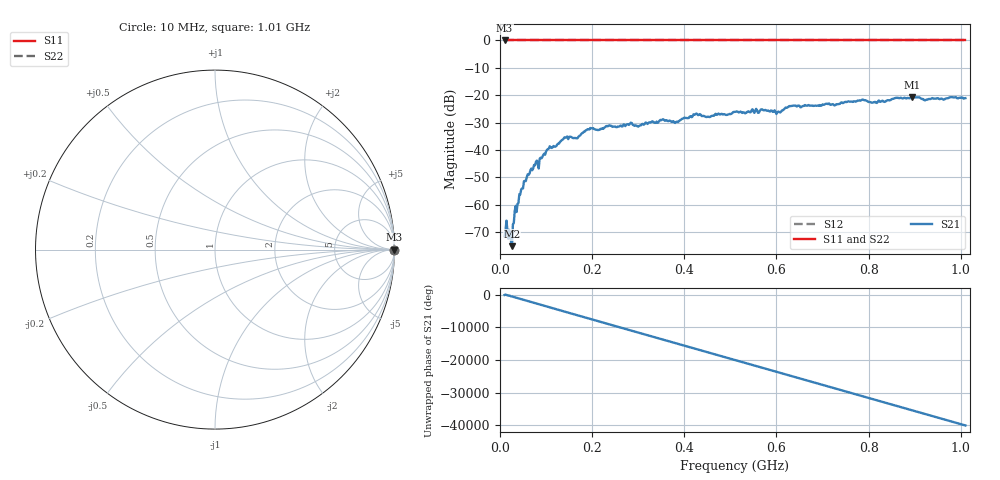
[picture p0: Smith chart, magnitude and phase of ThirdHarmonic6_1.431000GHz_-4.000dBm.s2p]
! 8/16/2025 4:29:51 PM
! C:\ANRITSUVNA\TEMP\TEMP.S2P
! CHANNEL.1
! TR.MEASUREMENT
! RAW.DATA
! RF.CORRECTION.OFF
! AVERAGING.OFF
! IF.BANDWIDTH: 5KHZ
! SWEEPTYPE:  FREQ.SWEEP(Linear)
! Reference Plane Port Info
! PORT:  PORT1  PORT2
! DISTANCE:  0  m  0  m
! TIME:  0  s  0  s
! PHASE.OFFSET:  0  deg.  0  deg.
! LOSS:  0  dB  0  dB
! REF.LOSS:  0  dB  0  dB
! REF.FREQ:  0  Hz  0  Hz
! Power Info
! POWER:  -20  dBm  -20  dBm
! EFF.POWER:  -20  dBm  -20  dBm
! SOURCE.ATTEN:  0  dB  0  dB
! TEST.ATTEN:  0  dB  0  dB
# GHZ S RI R 50.0
! FREQ.GHZ  S11RE  S11IM  S21RE  S21IM  S12RE  S12IM  S22RE  S22IM
!; PortSelection: Port_12
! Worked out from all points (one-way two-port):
!   501 points, 10 MHz to 1.01 GHz, reference 50 ohm
!   highest |S21| = -20.67 dB at 894 MHz (marker M1); lowest = -75.1 dB at 26 MHz (marker M2)
!   lowest |S11| = 0.0 dB at 10 MHz (marker M3)
!   |S11| at or under -10 dB: nowhere
!   |S22| runs from 0.0 to 0.0 dB; largest |S21 - S12| = 1.1
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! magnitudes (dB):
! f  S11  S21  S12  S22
! 10 MHz  0.0  -71.5  0.0  0.0
! 18 MHz  0.0  -72.5  0.0  0.0
! 22 MHz  0.0  -70.8  0.0  0.0
! 26 MHz  0.0  -75.1  0.0  0.0
! 32 MHz  0.0  -62.3  0.0  0.0
! 46 MHz  0.0  -54.4  0.0  0.0
! 56 MHz  0.0  -51.4  0.0  0.0
! 76 MHz  0.0  -45.6  0.0  0.0
! 106 MHz  0.0  -39.5  0.0  0.0
! 142 MHz  0.0  -35.4  0.0  0.0
! 164 MHz  0.0  -35.7  0.0  0.0
! 178 MHz  0.0  -33.9  0.0  0.0
! 198 MHz  0.0  -32.1  0.0  0.0
! 344 MHz  0.0  -29.8  0.0  0.0
! 382 MHz  0.0  -29.8  0.0  0.0
! 510 MHz  0.0  -26.1  0.0  0.0
! 604 MHz  0.0  -26.0  0.0  0.0
! 632 MHz  0.0  -23.9  0.0  0.0
! 678 MHz  0.0  -23.7  0.0  0.0
! 844 MHz  0.0  -21.9  0.0  0.0
! 894 MHz  0.0  -20.7  0.0  0.0
! 1.01 GHz  0.0  -21.1  0.0  0.0
